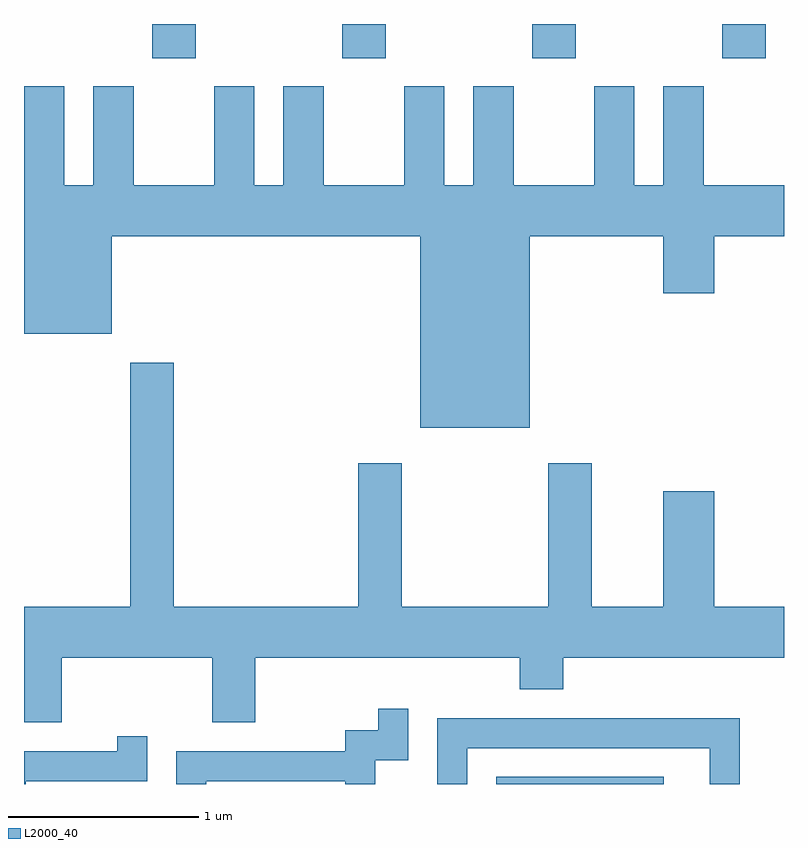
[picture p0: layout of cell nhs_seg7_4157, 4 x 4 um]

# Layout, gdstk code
import gdstk
lib = gdstk.Library(unit=1e-6, precision=1e-09)
def R(c, l, rs):  # rectangles x0, y0, x1, y1
    for r in rs: c.add(gdstk.rectangle(r[:2], r[2:], *l))
def A(c, l, x, y, w, h, nx, ny, dx, dy):  # array of equal rectangles
    R(c, l, [(x+i*dx, y+j*dy, x+i*dx+w, y+j*dy+h) for i in range(nx) for j in range(ny)])
def P(c, l, *ps):  # polygons
    for p in ps: c.add(gdstk.Polygon(p, *l))
L2000_40 = (2000, 40)

nhs_seg7_4157 = lib.new_cell('nhs_seg7_4157')
A(nhs_seg7_4157, L2000_40, 312.286, 1784.071, 0.228, 0.181, 4, 1, 1, 0)
R(nhs_seg7_4157, L2000_40, [(314.096,1780.252,314.978,1780.289)])
P(nhs_seg7_4157, L2000_40, [(314.274,1783.136),(314.976,1783.136),(314.976,1782.836),(315.244,1782.836),(315.244,1783.136),(315.611,1783.136),(315.611,1783.404),(315.189,1783.404),(315.189,1783.924),(314.976,1783.924),(314.976,1783.404),(314.824,1783.404),(314.824,1783.924),(314.611,1783.924),(314.611,1783.404),(314.189,1783.404),(314.189,1783.924),(313.976,1783.924),(313.976,1783.404),(313.824,1783.404),(313.824,1783.924),(313.611,1783.924),(313.611,1783.404),(313.189,1783.404),(313.189,1783.924),(312.976,1783.924),(312.976,1783.404),(312.824,1783.404),(312.824,1783.924),(312.611,1783.924),(312.611,1783.404),(312.189,1783.404),(312.189,1783.924),(311.976,1783.924),(311.976,1783.404),(311.824,1783.404),(311.824,1783.924),(311.611,1783.924),(311.611,1782.621),(312.074,1782.621),(312.074,1783.136),(313.696,1783.136),(313.696,1782.126),(314.274,1782.126)],
  [(315.611,1781.184),(315.244,1781.184),(315.244,1781.794),(314.976,1781.794),(314.976,1781.184),(314.599,1781.184),(314.599,1781.939),(314.371,1781.939),(314.371,1781.184),(313.599,1781.184),(313.599,1781.939),(313.371,1781.939),(313.371,1781.184),(312.399,1781.184),(312.399,1782.469),(312.171,1782.469),(312.171,1781.184),(311.611,1781.184),(311.611,1780.576),(311.809,1780.576),(311.809,1780.916),(312.601,1780.916),(312.601,1780.576),(312.829,1780.576),(312.829,1780.916),(314.221,1780.916),(314.221,1780.751),(314.449,1780.751),(314.449,1780.916),(315.611,1780.916)],
  [(312.569,1780.266),(313.301,1780.266),(313.301,1780.252),(313.459,1780.252),(313.459,1780.376),(313.634,1780.376),(313.634,1780.648),(313.476,1780.648),(313.476,1780.534),(313.301,1780.534),(313.301,1780.424),(312.411,1780.424),(312.411,1780.252),(312.569,1780.252)],
  [(313.944,1780.441),(315.221,1780.441),(315.221,1780.252),(315.379,1780.252),(315.379,1780.599),(313.786,1780.599),(313.786,1780.252),(313.944,1780.252)],
  [(311.619,1780.266),(312.259,1780.266),(312.259,1780.503),(312.101,1780.503),(312.101,1780.424),(311.611,1780.424),(311.611,1780.252),(311.619,1780.252)])

lib.write_gds('nhs_seg7_4157.gds')
